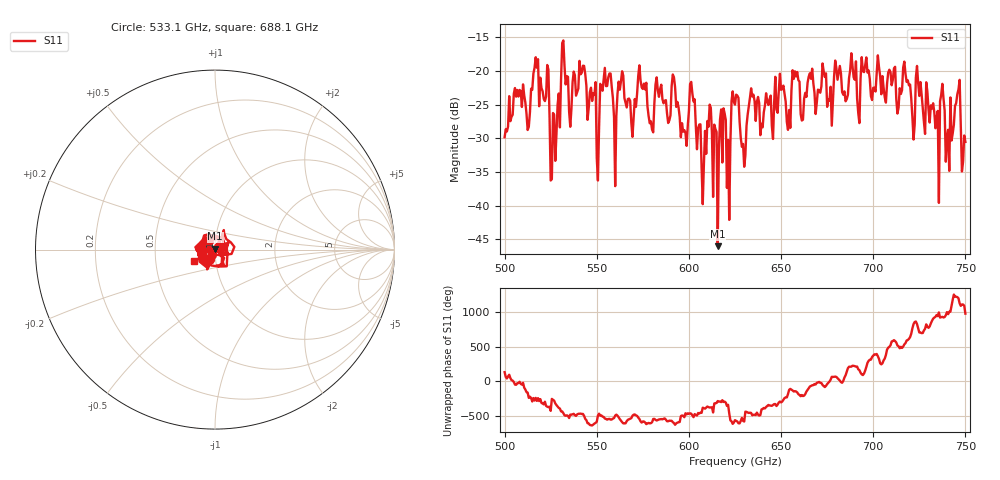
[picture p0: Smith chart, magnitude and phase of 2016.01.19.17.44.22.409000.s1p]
!Created with skrf (http://scikit-rf.org).
# GHz S RI R 50.0
!freq ReS11 ImS11
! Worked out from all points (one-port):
!   401 points, 500 GHz to 750 GHz, reference 50 ohm
!   lowest |S11| = -46.0 dB at 615.6 GHz (marker M1), VSWR 1.01, Z = 50.2 + j0.477 ohm
!   |S11| at or under -10 dB: start of sweep to end of sweep
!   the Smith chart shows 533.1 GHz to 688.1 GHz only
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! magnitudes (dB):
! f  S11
! 500 GHz  -29.8
! 506.2 GHz  -23.8
! 512.5 GHz  -28.8
! 516.9 GHz  -18.0
! 523.1 GHz  -19.1
! 526.2 GHz  -26.2
! 531.2 GHz  -15.9
! 535.6 GHz  -28.3
! 541.9 GHz  -20.3
! 550 GHz  -32.9
! 553.1 GHz  -22.9
! 560 GHz  -37.1
! 562.5 GHz  -22.8
! 593.8 GHz  -24.6
! 615.6 GHz  -46.0
! 618.8 GHz  -25.6
! 621.9 GHz  -42.1
! 625 GHz  -25.0
! 629.4 GHz  -30.8
! 633.8 GHz  -22.6
! 656.2 GHz  -19.9
! 687.5 GHz  -19.9
! 718.8 GHz  -21.4
! 734.4 GHz  -26.9
! 737.5 GHz  -21.9
! 740 GHz  -29.8
! 745.6 GHz  -23.4
! 750 GHz  -30.5
